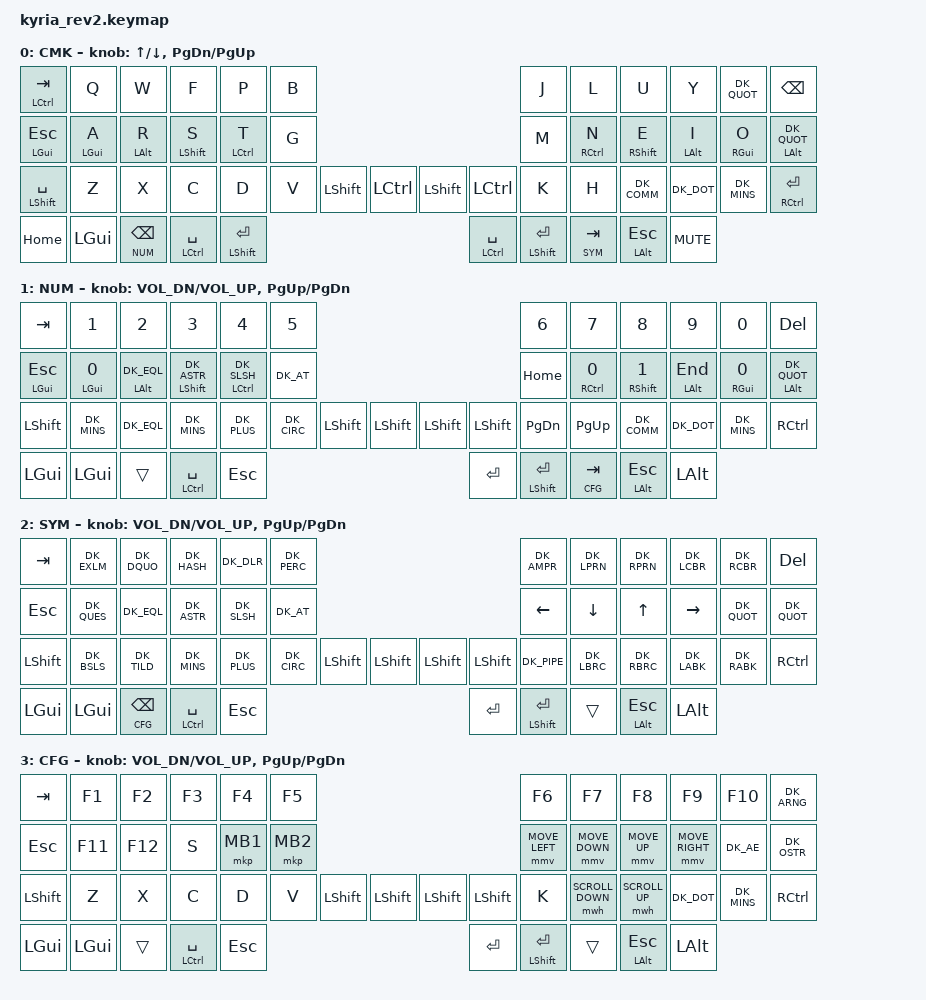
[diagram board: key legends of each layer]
//  west build --pristine -d build/left -b nice_nano_v2 -- -DSHIELD=kyria_rev2_left -DZMK_CONFIG=/home/jacob/code/zmk-config/config
/*
 * Copyright (c) 2020 The ZMK Contributors
 *
 * SPDX-License-Identifier: MIT
 */

#include <behaviors.dtsi>
#include <dt-bindings/zmk/keys.h>
#include <dt-bindings/zmk/mouse.h>
#include "keymap_danish.h"

// Layer aliases
#define CMK 0
#define NUM 1
#define SYM 2
#define CFG 3
#define QTY 4

// mod tap
&mt {
    /* flavor = "hold-preferred"; */
    flavor = "balanced";
    tapping-term-ms = <200>;
    quick-tap-ms = <200>;
};

// layer tap
&lt {
    flavor = "hold-preferred";
    tapping-term-ms = <200>;
    quick-tap-ms = <200>;
};


&mmv {
    time-to-max-speed-ms = <200>;
    acceleration-exponent = <2>;
};


/*                            KEY POSITIONS
  ╭────────────────────────╮                 ╭────────────────────────╮
  │  0   1   2   3   4   5 │                 │  6   7   8   9  10  11 │
  │ 12  13  14  15  16  17 ╰───────╮ ╭───────╯ 18  19  20  21  22  23 │
  │ 24  25  26  27  28  29  30  31 │ │ 32  33  34  35  36  37  38  39 │
  ╰───────────╮ 40  41  42  43  44 │ │ 45  46  47  48  49 ╭───────────╯
              ╰────────────────────╯ ╰────────────────────╯            */
/ {
    /* behaviors { */
    /*     phtl: positional_hold_tap_left { */
    /*         compatible = "zmk,behavior-hold-tap"; */
    /*         label = "POSITIONAL_HOLD_TAP_LEFT"; */
    /*         #binding-cells = <2>; */
			/* /1* flavor = "tap-preferred"; *1/ */
			/* flavor = "balanced"; */
    /*         tapping-term-ms = <250>; */
    /*         quick-tap-ms = <200>; */
    /*         bindings = <&kp>, <&kp>; */
    /*         hold-trigger-key-positions = < */
    /*  0   1   2   3   4   5                      6   7   8   9  10  11 */
    /* 12                  17                     18  19  20  21  22  23 */
    /* 24  25  26  27  28  29  30  31     32  33  34  35  36  37  38  39 */
    /*             40  41  42      44     45  46  47  48  49 */
    /*         >; */
    /*     }; */
    /*     phtr: positional_hold_tap_right { */
    /*         compatible = "zmk,behavior-hold-tap"; */
    /*         label = "POSITIONAL_HOLD_TAP_RIGHT"; */
    /*         #binding-cells = <2>; */
			/* flavor = "balanced"; */
    /*         tapping-term-ms = <250>; */
    /*         quick-tap-ms = <200>; */
    /*         bindings = <&kp>, <&kp>; */
    /*         hold-trigger-key-positions = < */
    /*  0   1   2   3   4   5                      6   7   8   9  10  11 */
    /* 12  13  14  15  16  17                     18                  23 */
    /* 24  25  26  27  28  29  30  31     32  33  34  35  36  37  38  39 */
    /*             40  41  42      44     45  46  47  48  49 */
    /*         >; */
    /*     }; */
    /* }; */
    behaviors {
        phtl: positional_hold_tap_left {
            compatible = "zmk,behavior-hold-tap";
            label = "POSITIONAL_HOLD_TAP_LEFT";
            #binding-cells = <2>;
			/* flavor = "tap-preferred"; */
			flavor = "balanced";
            tapping-term-ms = <250>;
            quick-tap-ms = <200>;
            bindings = <&kp>, <&kp>;
            hold-trigger-key-positions = <
     0                                          6   7   8   9  10  11
    12                                         18  19  20  21  22  23
    24                      30  31     32  33  34  35  36  37  38  39
                40  41  42  43  44     45  46  47  48  49
            >;
        };
        phtr: positional_hold_tap_right {
            compatible = "zmk,behavior-hold-tap";
            label = "POSITIONAL_HOLD_TAP_RIGHT";
            #binding-cells = <2>;
			flavor = "balanced";
            tapping-term-ms = <250>;
            quick-tap-ms = <200>;
            bindings = <&kp>, <&kp>;
            hold-trigger-key-positions = <
     0   1   2   3   4   5                                         11
    12  13  14  15  16  17                                         23
    24  25  26  27  28  29  30  31     32  33                      39
                40  41  42      44     45  46  47  48  49
            >;
        };
    };

    combos {
        compatible = "zmk,combos";
        combo_home {
            timeout-ms = <50>;
            key-positions = <19 20>;
            bindings = <&kp HOME>;
            layers = <2>;
        };
        combo_end {
            timeout-ms = <50>;
            key-positions = <21 22>;
            bindings = <&kp END>;
            layers = <2>;
        };
    };

	keymap {
		compatible = "zmk,keymap";

		COLEMAK_DH {
            label = "CMK";
/* -------------------------------------------------------------                                            -------------------------------------------------------------
   |    ESC  |    Q    |    W    |    E    |    R    |    T    |                                            |    Y    |    U    |    I    |    O    |    P    |    \    |
   |    TAB  |    A    |    S    |    D    |    F    |    G    |--------------------    --------------------|    H    |    J    |    K    |    L    |    ;    |    '    |
   |    SHIFT|    Z    |    X    |    C    |    V    |    B    |    TAB  |    ESC  |    |    BSCP |   DEL   |    N    |    M    |    ,    |    .    |    /    |   CTRL  |
   ------------------------------|   CTRL  |   GUI   |   ALT   |   SPACE |    num  |    |    nav  |   RET   |   ALT   |   CTRL  |  rotary |------------------------------
                                 ---------------------------------------------------    ---------------------------------------------------                               */
			bindings = <
&mt LCTRL TAB   &kp Q        &kp W        &kp F         &kp P         &kp B                                              &kp J  &kp L         &kp U         &kp Y        &kp DK_QUOT  &kp BSPC
&mt LGUI ESC    &phtl LGUI A &phtl LALT R &phtl LSHFT S &phtl LCTRL T &kp G                                              &kp M  &phtr RCTRL N &phtr RSHFT E &phtr LALT I &phtr RGUI O &mt LALT DK_QUOT
&mt LSHFT SPACE &kp Z        &kp X        &kp C         &kp D         &kp V &kp LSHFT &kp LCTRL      &kp LSHFT &kp LCTRL &kp K  &kp H         &kp DK_COMM   &kp DK_DOT   &kp DK_MINS  &mt RCTRL RET
&kp HOME     &kp LGUI &lt NUM BSPC &mt LCTRL SPACE &mt LSHFT RET                                     &mt LCTRL SPACE  &mt LSHIFT RET  &lt SYM TAB  &mt LALT ESC  &kp K_MUTE
            >;
            /* sensor-bindings = <&inc_dec_kp C_VOL_DN C_VOL_UP &inc_dec_kp PG_UP PG_DN>; */
            /* sensor-bindings = <&inc_dec_kp K_SCROLL_DOWN K_SCROLL_UP &inc_dec_kp PG_DN PG_UP>; */
            /* sensor-bindings = <&inc_dec_kp SCROLL_DOWN SCROLL_UP &inc_dec_kp PG_DN PG_UP>; */
            sensor-bindings = <&inc_dec_kp UP DOWN &inc_dec_kp PG_DN PG_UP>;
        };

        NUMBERS {
            label = "NUM";
            bindings = <
&kp TAB      &kp N1        &kp N2            &kp N3              &kp N4              &kp N5                               &kp N6    &kp N7         &kp N8         &kp N9         &kp N0        &kp DEL
&mt LGUI ESC &phtl LGUI N0 &phtl LALT DK_EQL &phtl LSHFT DK_ASTR &phtl LCTRL DK_SLSH &kp DK_AT                            &kp HOME  &phtr RCTRL N0 &phtr RSHFT N1 &phtr LALT END &phtr RGUI N0 &mt LALT DK_QUOT
&kp LSHFT    &kp DK_MINS  &kp DK_EQL  &kp DK_MINS  &kp DK_PLUS  &kp DK_CIRC  &kp LSHFT  &kp LSHFT    &kp LSHFT &kp LSHFT  &kp PG_DN &kp PG_UP &kp DK_COMM   &kp DK_DOT  &kp DK_MINS &kp RCTRL
&kp LGUI &kp LGUI &trans &mt LCTRL SPACE &kp ESC                                  &kp RET &mt LSHIFT RET &lt CFG TAB &mt LALT ESC &kp LALT
            >;
            sensor-bindings = <&inc_dec_kp C_VOL_DN C_VOL_UP &inc_dec_kp PG_UP PG_DN>;
        };

        SYMBOLS_NAVIGATION {
            label = "SYM";
            bindings = <
&kp TAB   &kp DK_EXLM &kp DK_DQUO  &kp DK_HASH &kp DK_DLR  &kp DK_PERC                                                  &kp DK_AMPR  &kp DK_LPRN  &kp DK_RPRN  &kp DK_LCBR  &kp DK_RCBR  &kp DEL
&kp ESC   &kp DK_QUES &kp DK_EQL   &kp DK_ASTR &kp DK_SLSH &kp DK_AT                                                    &kp LEFT     &kp DOWN     &kp UP       &kp RIGHT    &kp DK_QUOT  &kp DK_QUOT
&kp LSHFT &kp DK_BSLS &kp DK_TILD  &kp DK_MINS &kp DK_PLUS &kp DK_CIRC  &kp LSHFT  &kp LSHFT       &kp LSHFT &kp LSHFT  &kp DK_PIPE  &kp DK_LBRC  &kp DK_RBRC  &kp DK_LABK  &kp DK_RABK  &kp RCTRL
          &kp LGUI  &kp LGUI &lt CFG BSPC &mt LCTRL SPACE &kp ESC       &kp RET    &mt LSHIFT RET  &trans &mt LALT ESC &kp LALT
            >;
            sensor-bindings = <&inc_dec_kp C_VOL_DN C_VOL_UP &inc_dec_kp PG_UP PG_DN>;
        };

        CONFIG {
            label = "CFG";
            bindings = <
&kp TAB   &kp F1  &kp F2  &kp F3 &kp F4    &kp F5                                                &kp F6         &kp F7           &kp F8         &kp F9          &kp F10     &kp DK_ARNG
&kp ESC   &kp F11 &kp F12 &kp S  &mkp MB1  &mkp MB2                                              &mmv MOVE_LEFT &mmv MOVE_DOWN   &mmv MOVE_UP   &mmv MOVE_RIGHT &kp DK_AE   &kp DK_OSTR
&kp LSHFT &kp Z   &kp X   &kp C  &kp D     &kp V     &kp LSHFT  &kp LSHFT   &kp LSHFT  &kp LSHFT &kp K          &mwh SCROLL_DOWN &mwh SCROLL_UP &kp DK_DOT      &kp DK_MINS &kp RCTRL
          &kp LGUI  &kp LGUI &trans &mt LCTRL SPACE &kp ESC &kp RET         &mt LSHIFT RET  &trans  &mt LALT ESC  &kp LALT
            >;
            sensor-bindings = <&inc_dec_kp C_VOL_DN C_VOL_UP &inc_dec_kp PG_UP PG_DN>;
		};
	};
};
